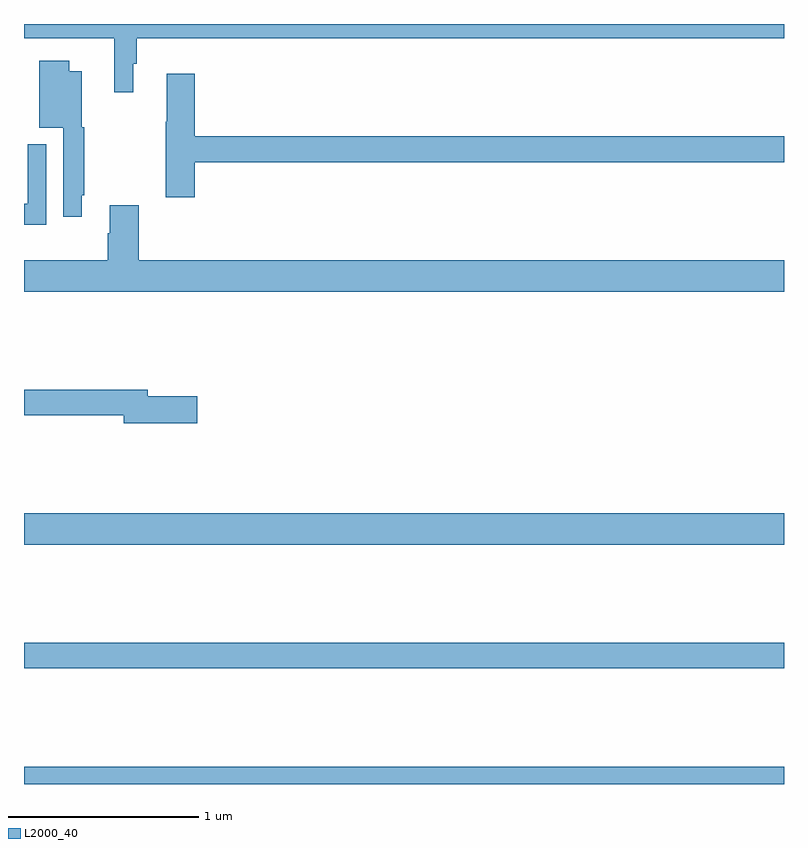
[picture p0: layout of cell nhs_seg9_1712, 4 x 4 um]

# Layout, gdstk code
import gdstk
lib = gdstk.Library(unit=1e-6, precision=1e-09)
def R(c, l, rs):  # rectangles x0, y0, x1, y1
    for r in rs: c.add(gdstk.rectangle(r[:2], r[2:], *l))
def P(c, l, *ps):  # polygons
    for p in ps: c.add(gdstk.Polygon(p, *l))
L2000_40 = (2000, 40)

nhs_seg9_1712 = lib.new_cell('nhs_seg9_1712')
R(nhs_seg9_1712, L2000_40, [(207,1188.5,211,1188.592), (207,1189.108,211,1189.244), (207,1189.76,211,1189.924)])
P(nhs_seg9_1712, L2000_40, [(207.574,1192.29),(207.593,1192.29),(207.593,1192.424),(211,1192.424),(211,1192.5),(207,1192.5),(207,1192.424),(207.475,1192.424),(207.475,1192.14),(207.574,1192.14)],
  [(207.304,1191.598),(207.316,1191.598),(207.316,1191.957),(207.304,1191.957),(207.304,1192.252),(207.238,1192.252),(207.238,1192.306),(207.08,1192.306),(207.08,1191.953),(207.207,1191.953),(207.207,1191.486),(207.304,1191.486)],
  [(207.899,1191.772),(211,1191.772),(211,1191.908),(207.899,1191.908),(207.899,1192.237),(207.752,1192.237),(207.752,1191.985),(207.745,1191.985),(207.745,1191.588),(207.899,1191.588)],
  [(207.117,1191.868),(207.02,1191.868),(207.02,1191.553),(207,1191.553),(207,1191.444),(207.117,1191.444)],
  [(211,1191.256),(207.605,1191.256),(207.605,1191.547),(207.452,1191.547),(207.452,1191.398),(207.44,1191.398),(207.44,1191.256),(207,1191.256),(207,1191.092),(211,1191.092)],
  [(207.913,1190.54),(207.652,1190.54),(207.652,1190.576),(207,1190.576),(207,1190.44),(207.524,1190.44),(207.524,1190.398),(207.913,1190.398)])

lib.write_gds('nhs_seg9_1712.gds')
